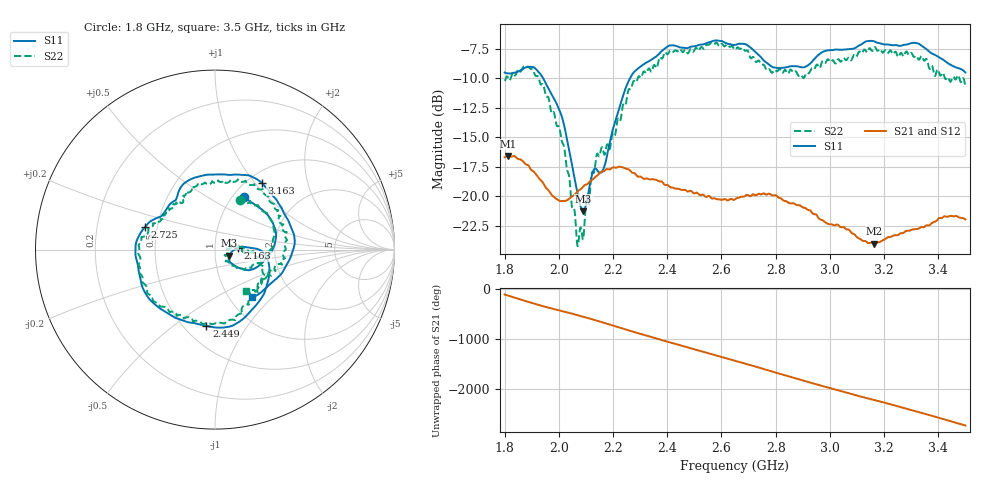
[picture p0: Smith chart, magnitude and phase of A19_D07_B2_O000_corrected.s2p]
! Created with skrf 1.9.0 (http://scikit-rf.org).
# Hz S RI R 50.0
!freq ReS11 ImS11 ReS21 ImS21 ReS12 ImS12 ReS22 ImS22
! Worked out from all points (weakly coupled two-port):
!   1601 points, 1.8 GHz to 3.5 GHz, reference 50 ohm
!   highest |S21| = -16.58 dB at 1.812 GHz (marker M1); lowest = -24.0 dB at 3.164 GHz (marker M2)
!   lowest |S11| = -21.3 dB at 2.09 GHz (marker M3), VSWR 1.19, Z = 58.5 - j3.89 ohm
!   |S11| at or under -10 dB: 1.943 GHz to 2.262 GHz (319.8 MHz wide, 15.2 % of centre)
!   |S22| runs from -24.2 to -6.9 dB; largest |S21 - S12| = 0.0028
!   S11 on the Smith chart (normalised r, x): 1.8 GHz: 1.13, +0.74; 2.163 GHz: 1.30, +0.02; 2.449 GHz: 0.64, -0.66; 2.725 GHz: 0.43, +0.13; 3.163 GHz: 1.15, +1.09; 3.5 GHz: 1.28, -0.75
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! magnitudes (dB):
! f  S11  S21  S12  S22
! 1.8 GHz  -9.5  -16.7  -16.7  -10.2
! 1.812 GHz  -9.6  -16.6  -16.6  -9.9
! 1.887 GHz  -9.0  -17.4  -17.4  -9.0
! 1.942 GHz  -10.0  -18.9  -18.9  -10.5
! 2.013 GHz  -13.4  -20.4  -20.4  -15.4
! 2.067 GHz  -19.5  -19.6  -19.7  -23.8
! 2.084 GHz  -21.1  -19.3  -19.3  -22.9
! 2.09 GHz  -21.3  -19.2  -19.2  -23.6
! 2.128 GHz  -17.8  -18.5  -18.5  -18.0
! 2.163 GHz  -17.8  -17.9  -17.8  -16.1
! 2.259 GHz  -10.2  -17.7  -17.8  -10.9
! 2.367 GHz  -8.0  -18.7  -18.7  -8.6
! 2.449 GHz  -7.4  -19.4  -19.4  -7.5
! 2.65 GHz  -7.2  -20.3  -20.2  -7.6
! 2.725 GHz  -7.8  -19.9  -19.9  -8.5
! 2.799 GHz  -9.1  -19.9  -19.9  -9.3
! 2.934 GHz  -8.6  -21.4  -21.4  -9.1
! 3.163 GHz  -6.8  -24.0  -24.0  -7.4
! 3.164 GHz  -6.9  -24.0  -24.0  -7.4
! 3.217 GHz  -7.1  -23.5  -23.5  -7.8
! 3.325 GHz  -7.0  -22.8  -22.8  -8.3
! 3.5 GHz  -9.5  -22.0  -22.0  -10.7
